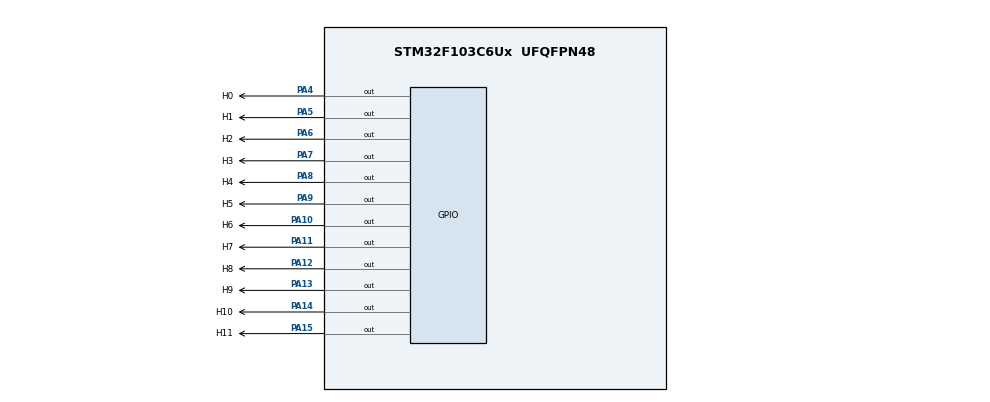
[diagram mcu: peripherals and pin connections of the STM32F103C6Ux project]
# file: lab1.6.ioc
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Mcu.Family=STM32F1
Mcu.Name=STM32F103C6Ux
Mcu.Package=UFQFPN48
NVIC.PriorityGroup=NVIC_PRIORITYGROUP_4
PA10.GPIO_Label=H6
PA10.Signal=GPIO_Output
PA11.GPIO_Label=H7
PA11.Signal=GPIO_Output
PA12.GPIO_Label=H8
PA12.Signal=GPIO_Output
PA13.GPIO_Label=H9
PA13.Signal=GPIO_Output
PA14.GPIO_Label=H10
PA14.Signal=GPIO_Output
PA15.GPIO_Label=H11
PA15.Signal=GPIO_Output
PA4.GPIO_Label=H0
PA4.Signal=GPIO_Output
PA5.GPIO_Label=H1
PA5.Signal=GPIO_Output
PA6.GPIO_Label=H2
PA6.Signal=GPIO_Output
PA7.GPIO_Label=H3
PA7.Signal=GPIO_Output
PA8.GPIO_Label=H4
PA8.Signal=GPIO_Output
PA9.GPIO_Label=H5
PA9.Signal=GPIO_Output
ProjectManager.HeapSize=0x200
ProjectManager.StackSize=0x400
ProjectManager.TargetToolchain=STM32CubeIDE
RCC.APB1Freq_Value=8000000
RCC.APB2Freq_Value=8000000
VP_SYS_VS_ND.Mode=No_Debug
board=custom

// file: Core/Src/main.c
/* USER CODE BEGIN Header */
/**
  ******************************************************************************
  * @file           : main.c
  * @brief          : Main program body
  ******************************************************************************
  * @attention
  *
  * <h2><center>&copy; Copyright (c) 2022 STMicroelectronics.
  * All rights reserved.</center></h2>
  *
  * This software component is licensed by ST under BSD 3-Clause license,
  * the "License"; You may not use this file except in compliance with the
  * License. You may obtain a copy of the License at:
  *                        opensource.org/licenses/BSD-3-Clause
  *
  ******************************************************************************
  */
/* USER CODE END Header */
#include "main.h"

/* USER CODE BEGIN Includes */
#include "12LED.h"
/* USER CODE END Includes */

void SystemClock_Config(void);
static void MX_GPIO_Init(void);

int main(void)
{

  /* MCU Configuration--------------------------------------------------------*/

  /* Reset of all peripherals, Initializes the Flash interface and the Systick. */
  HAL_Init();

  /* Configure the system clock */
  SystemClock_Config();

  /* Initialize all configured peripherals */
  MX_GPIO_Init();

  /* Infinite loop */
  /* USER CODE BEGIN WHILE */
  int sc0 = 0;
  int mn0 = 0;
  int hr0 = 0;
  int sc1 = sc0 / 5;
  int mn1 = mn0 / 5;
  int hr1 = hr0;
  int sc2;
  int mn2;
  int hr2;
  clearAllClock();
  setNumberOnClock(hr1);
  setNumberOnClock(mn1);
  setNumberOnClock(sc1);
  while (1)
  {
	  // luu trang thai cu
	  sc2 = sc1;
	  mn2 = mn1;
	  hr2 = hr1;

	  if(sc0 >= 60){
		  mn0 ++;
		  sc0 = 0;
	  }
	  if(mn0 >= 60){
		  hr0++;
		  mn0 = 0;
	  }
	  if(hr0 >= 12){
		  hr0 = 0;
	  }
	  sc1 = sc0 / 5;
	  mn1 = mn0 / 5;
	  hr1 = hr0;
	  if(sc1 >= 12){
	  		  sc1 = 0;
	  	  }
	  if(mn1 >= 12){
	  		  mn1 = 0;
	  	  }
	  if(sc2 != sc1){
		  setNumberOnClock(sc1); // dat thoi gian moi
		  if(hr1 != sc2 && mn1 !=sc2){
			  clearNumberOnClock(sc2); // xoa thoi gian cu
		  }
	  }
	  if(mn2 != mn1){
	  		  setNumberOnClock(mn1); // dat thoi gian moi
	  		  if(hr1 != mn2 && sc1 !=mn2){
	  			  clearNumberOnClock(mn2); // xoa thoi gian cu
	  		  }
	  }
	  if(hr2 != hr1){
	  		  setNumberOnClock(hr1); // dat thoi gian moi
	  		  if(mn1 != hr2 && sc1 !=hr2){
	  			  clearNumberOnClock(hr2); // xoa thoi gian cu
	  		  }
	  }

	  sc0++;
	  HAL_Delay(100);
    /* USER CODE END WHILE */

  }
}

void SystemClock_Config(void)
{
  RCC_OscInitTypeDef RCC_OscInitStruct = {0};
  RCC_ClkInitTypeDef RCC_ClkInitStruct = {0};

  /** Initializes the RCC Oscillators according to the specified parameters
  * in the RCC_OscInitTypeDef structure.
  */
  RCC_OscInitStruct.OscillatorType = RCC_OSCILLATORTYPE_HSI;
  RCC_OscInitStruct.HSIState = RCC_HSI_ON;
  RCC_OscInitStruct.HSICalibrationValue = RCC_HSICALIBRATION_DEFAULT;
  RCC_OscInitStruct.PLL.PLLState = RCC_PLL_NONE;
  if (HAL_RCC_OscConfig(&RCC_OscInitStruct) != HAL_OK)
  {
    Error_Handler();
  }
  /** Initializes the CPU, AHB and APB buses clocks
  */
  RCC_ClkInitStruct.ClockType = RCC_CLOCKTYPE_HCLK|RCC_CLOCKTYPE_SYSCLK
                              |RCC_CLOCKTYPE_PCLK1|RCC_CLOCKTYPE_PCLK2;
  RCC_ClkInitStruct.SYSCLKSource = RCC_SYSCLKSOURCE_HSI;
  RCC_ClkInitStruct.AHBCLKDivider = RCC_SYSCLK_DIV1;
  RCC_ClkInitStruct.APB1CLKDivider = RCC_HCLK_DIV1;
  RCC_ClkInitStruct.APB2CLKDivider = RCC_HCLK_DIV1;

  if (HAL_RCC_ClockConfig(&RCC_ClkInitStruct, FLASH_LATENCY_0) != HAL_OK)
  {
    Error_Handler();
  }
}

static void MX_GPIO_Init(void)
{
  GPIO_InitTypeDef GPIO_InitStruct = {0};

  /* GPIO Ports Clock Enable */
  __HAL_RCC_GPIOA_CLK_ENABLE();

  /*Configure GPIO pin Output Level */
  HAL_GPIO_WritePin(GPIOA, H0_Pin|H1_Pin|H2_Pin|H3_Pin
                          |H4_Pin|H5_Pin|H6_Pin|H7_Pin
                          |H8_Pin|H9_Pin|H10_Pin|H11_Pin, GPIO_PIN_RESET);

  /*Configure GPIO pins : H0_Pin H1_Pin H2_Pin H3_Pin
                           H4_Pin H5_Pin H6_Pin H7_Pin
                           H8_Pin H9_Pin H10_Pin H11_Pin */
  GPIO_InitStruct.Pin = H0_Pin|H1_Pin|H2_Pin|H3_Pin
                          |H4_Pin|H5_Pin|H6_Pin|H7_Pin
                          |H8_Pin|H9_Pin|H10_Pin|H11_Pin;
  GPIO_InitStruct.Mode = GPIO_MODE_OUTPUT_PP;
  GPIO_InitStruct.Pull = GPIO_NOPULL;
  GPIO_InitStruct.Speed = GPIO_SPEED_FREQ_LOW;
  HAL_GPIO_Init(GPIOA, &GPIO_InitStruct);

}

void Error_Handler(void)
{
  __disable_irq();
  while (1)
  {
  }
}

/************************ (C) COPYRIGHT STMicroelectronics *****END OF FILE****/
